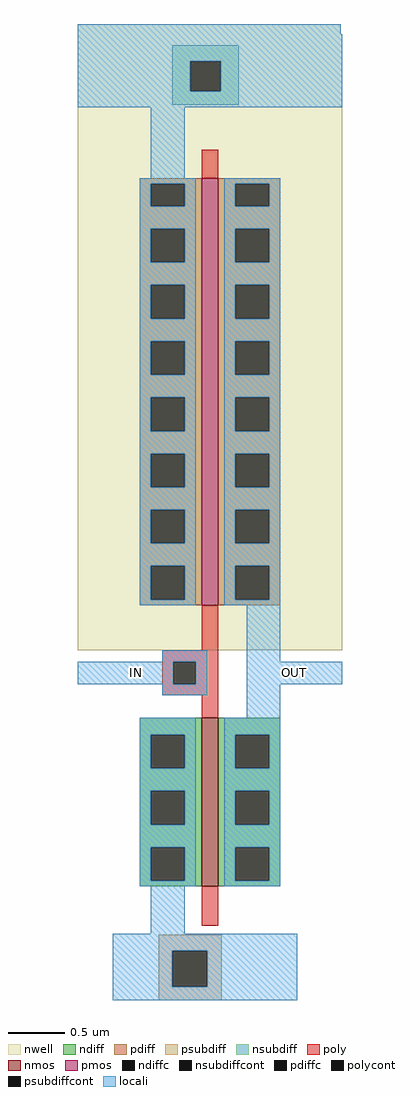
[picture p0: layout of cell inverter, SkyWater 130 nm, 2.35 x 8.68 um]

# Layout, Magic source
magic
tech sky130A
<< nwell >>
rect 75 548 309 557
rect 75 0 310 548
<< nmos >>
rect 185 -210 200 -60
<< pmos >>
rect 185 40 200 420
<< ndiff >>
rect 130 -75 185 -60
rect 130 -105 140 -75
rect 170 -105 185 -75
rect 130 -125 185 -105
rect 130 -155 140 -125
rect 170 -155 185 -125
rect 130 -175 185 -155
rect 130 -205 140 -175
rect 170 -205 185 -175
rect 130 -210 185 -205
rect 200 -75 255 -60
rect 200 -105 215 -75
rect 245 -105 255 -75
rect 200 -125 255 -105
rect 200 -155 215 -125
rect 245 -155 255 -125
rect 200 -175 255 -155
rect 200 -205 215 -175
rect 245 -205 255 -175
rect 200 -210 255 -205
<< pdiff >>
rect 130 415 185 420
rect 130 395 140 415
rect 170 395 185 415
rect 130 375 185 395
rect 130 345 140 375
rect 170 345 185 375
rect 130 325 185 345
rect 130 295 140 325
rect 170 295 185 325
rect 130 275 185 295
rect 130 245 140 275
rect 170 245 185 275
rect 130 225 185 245
rect 130 195 140 225
rect 170 195 185 225
rect 130 175 185 195
rect 130 145 140 175
rect 170 145 185 175
rect 130 125 185 145
rect 130 95 140 125
rect 170 95 185 125
rect 130 75 185 95
rect 130 45 140 75
rect 170 45 185 75
rect 130 40 185 45
rect 200 415 255 420
rect 200 395 215 415
rect 245 395 255 415
rect 200 375 255 395
rect 200 345 215 375
rect 245 345 255 375
rect 200 325 255 345
rect 200 295 215 325
rect 245 295 255 325
rect 200 275 255 295
rect 200 245 215 275
rect 245 245 255 275
rect 200 225 255 245
rect 200 195 215 225
rect 245 195 255 225
rect 200 175 255 195
rect 200 145 215 175
rect 245 145 255 175
rect 200 125 255 145
rect 200 95 215 125
rect 245 95 255 125
rect 200 75 255 95
rect 200 45 215 75
rect 245 45 255 75
rect 200 40 255 45
<< ndiffc >>
rect 140 -105 170 -75
rect 140 -155 170 -125
rect 140 -205 170 -175
rect 215 -105 245 -75
rect 215 -155 245 -125
rect 215 -205 245 -175
<< pdiffc >>
rect 140 395 170 415
rect 140 345 170 375
rect 140 295 170 325
rect 140 245 170 275
rect 140 195 170 225
rect 140 145 170 175
rect 140 95 170 125
rect 140 45 170 75
rect 215 395 245 415
rect 215 345 245 375
rect 215 295 245 325
rect 215 245 245 275
rect 215 195 245 225
rect 215 145 245 175
rect 215 95 245 125
rect 215 45 245 75
<< psubdiff >>
rect 147 -267 203 -253
rect 147 -299 159 -267
rect 190 -299 203 -267
rect 147 -311 203 -299
<< nsubdiff >>
rect 159 524 218 538
rect 159 497 175 524
rect 202 497 218 524
rect 159 485 218 497
<< psubdiffcont >>
rect 159 -299 190 -267
<< nsubdiffcont >>
rect 175 497 202 524
<< poly >>
rect 185 420 200 445
rect 185 0 200 40
rect 150 -10 200 0
rect 150 -30 160 -10
rect 180 -30 200 -10
rect 150 -40 200 -30
rect 185 -60 200 -40
rect 185 -245 200 -210
<< polycont >>
rect 160 -30 180 -10
<< locali >>
rect 75 548 309 557
rect 75 524 310 548
rect 75 497 175 524
rect 202 497 310 524
rect 75 483 310 497
rect 140 420 170 483
rect 130 415 180 420
rect 130 395 140 415
rect 170 395 180 415
rect 130 375 180 395
rect 130 345 140 375
rect 170 345 180 375
rect 130 325 180 345
rect 130 295 140 325
rect 170 295 180 325
rect 130 275 180 295
rect 130 245 140 275
rect 170 245 180 275
rect 130 225 180 245
rect 130 195 140 225
rect 170 195 180 225
rect 130 175 180 195
rect 130 145 140 175
rect 170 145 180 175
rect 130 125 180 145
rect 130 95 140 125
rect 170 95 180 125
rect 130 75 180 95
rect 130 45 140 75
rect 170 45 180 75
rect 130 40 180 45
rect 205 415 255 420
rect 205 395 215 415
rect 245 395 255 415
rect 205 375 255 395
rect 205 345 215 375
rect 245 345 255 375
rect 205 325 255 345
rect 205 295 215 325
rect 245 295 255 325
rect 205 275 255 295
rect 205 245 215 275
rect 245 245 255 275
rect 205 225 255 245
rect 205 195 215 225
rect 245 195 255 225
rect 205 175 255 195
rect 205 145 215 175
rect 245 145 255 175
rect 205 125 255 145
rect 205 95 215 125
rect 245 95 255 125
rect 205 75 255 95
rect 205 45 215 75
rect 245 45 255 75
rect 205 40 255 45
rect 150 -10 190 0
rect 75 -30 160 -10
rect 180 -30 190 -10
rect 150 -40 190 -30
rect 225 -10 255 40
rect 225 -30 310 -10
rect 225 -60 255 -30
rect 130 -75 180 -60
rect 130 -105 140 -75
rect 170 -105 180 -75
rect 130 -125 180 -105
rect 130 -155 140 -125
rect 170 -155 180 -125
rect 130 -175 180 -155
rect 130 -205 140 -175
rect 170 -205 180 -175
rect 130 -210 180 -205
rect 205 -75 255 -60
rect 205 -105 215 -75
rect 245 -105 255 -75
rect 205 -125 255 -105
rect 205 -155 215 -125
rect 245 -155 255 -125
rect 205 -175 255 -155
rect 205 -205 215 -175
rect 245 -205 255 -175
rect 205 -210 255 -205
rect 140 -252 170 -210
rect 106 -267 270 -252
rect 106 -299 159 -267
rect 190 -299 270 -267
rect 106 -311 270 -299
<< labels >>
rlabel locali 75 -30 180 -10 1 IN
rlabel locali 225 -30 310 -10 1 OUT
<< end >>
